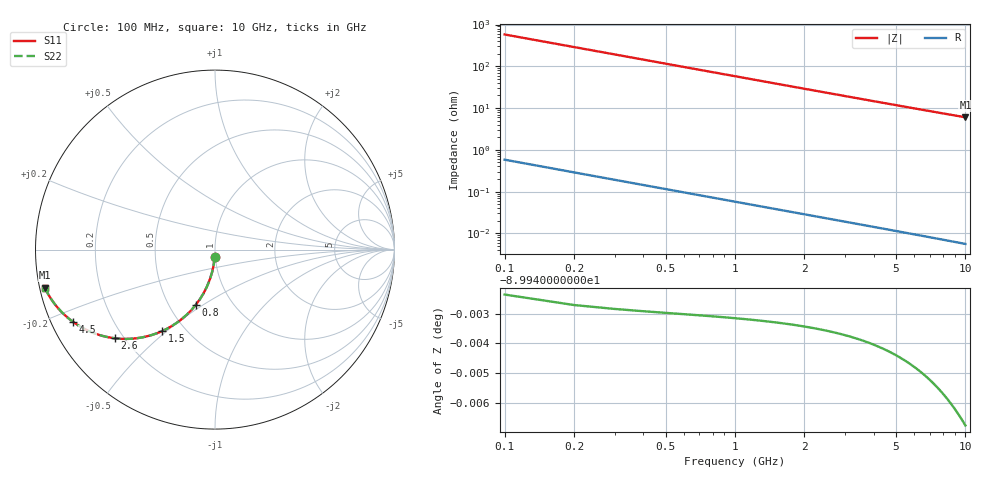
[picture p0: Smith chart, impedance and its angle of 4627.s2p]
# Hz S RI R 50.00
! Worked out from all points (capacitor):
!   100 points, 100 MHz to 10 GHz, reference 50 ohm
!   read as one part in shunt: C = 2.76 pF near 100 MHz
!   lowest |Z| = 6.02 ohm at 10 GHz (marker M1)
!   S11 on the Smith chart (normalised r, x): 100 MHz: 0.99, -0.09; 800 MHz: 0.68, -0.47; 1.5 GHz: 0.37, -0.48; 2.6 GHz: 0.17, -0.37; 4.5 GHz: 0.06, -0.24; 10 GHz: 0.01, -0.11
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1e8  -0.0019 -0.0431  0.9981 -0.0433  0.9981 -0.0433  -0.0019 -0.0431
2e8  -0.00751 -0.0858  0.9925 -0.0861  0.9925 -0.0861  -0.00751 -0.0858
3e8  -0.0167 -0.1274  0.9833 -0.1279  0.9833 -0.1279  -0.0167 -0.1274
4e8  -0.0292 -0.1677  0.9707 -0.1683  0.9707 -0.1683  -0.0292 -0.1677
5e8  -0.0449 -0.2062  0.9551 -0.207  0.9551 -0.207  -0.0449 -0.2062
6e8  -0.0633 -0.2426  0.9366 -0.2435  0.9366 -0.2435  -0.0633 -0.2426
8e8  -0.1071 -0.3082  0.8928 -0.3094  0.8928 -0.3094  -0.1071 -0.3082
9e8  -0.1318 -0.337  0.8682 -0.3384  0.8682 -0.3384  -0.1318 -0.337
1.1e9  -0.1846 -0.3866  0.8154 -0.3883  0.8154 -0.3883  -0.1846 -0.3866
1.3e9  -0.24 -0.4256  0.7599 -0.4276  0.7599 -0.4276  -0.24 -0.4256
1.5e9  -0.2958 -0.4547  0.7042 -0.4571  0.7042 -0.4571  -0.2958 -0.4547
1.8e9  -0.3765 -0.4826  0.6235 -0.4854  0.6235 -0.4854  -0.3765 -0.4826
2.2e9  -0.4737 -0.4971  0.5262 -0.5005  0.5262 -0.5005  -0.4737 -0.4971
2.6e9  -0.5565 -0.4942  0.4435 -0.4983  0.4435 -0.4983  -0.5565 -0.4942
3e9  -0.6251 -0.4812  0.3748 -0.486  0.3748 -0.486  -0.6251 -0.4812
3.4e9  -0.6814 -0.4627  0.3186 -0.4681  0.3186 -0.4681  -0.6814 -0.4627
3.9e9  -0.7374 -0.4364  0.2625 -0.4426  0.2625 -0.4426  -0.7374 -0.4364
4.5e9  -0.7887 -0.4041  0.2112 -0.4113  0.2112 -0.4113  -0.7887 -0.4041
5.1e9  -0.8272 -0.3734  0.1727 -0.3816  0.1727 -0.3816  -0.8272 -0.3734
6.7e9  -0.8918 -0.3046  0.1081 -0.3155  0.1081 -0.3155  -0.8918 -0.3046
8.4e9  -0.9284 -0.2504  0.0715 -0.2641  0.0715 -0.2641  -0.9284 -0.2504
1e10  -0.9485 -0.2122  0.0514 -0.2286  0.0514 -0.2286  -0.9485 -0.2122
